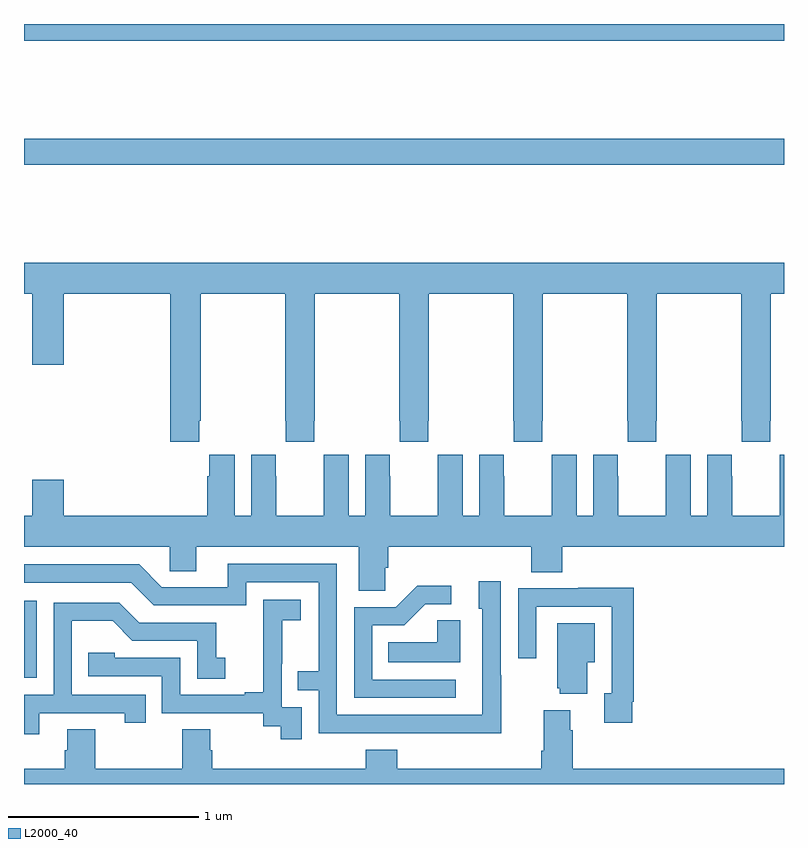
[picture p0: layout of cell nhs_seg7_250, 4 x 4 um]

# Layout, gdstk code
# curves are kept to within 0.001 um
import gdstk
lib = gdstk.Library(unit=1e-6, precision=1e-09)
def R(c, l, rs):  # rectangles x0, y0, x1, y1
    for r in rs: c.add(gdstk.rectangle(r[:2], r[2:], *l))
def P(c, l, *ps):  # polygons
    for p in ps: c.add(gdstk.Polygon(p, *l))
L2000_40 = (2000, 40)

nhs_seg7_250 = lib.new_cell('nhs_seg7_250')
R(nhs_seg7_250, L2000_40, [(129,1034.559,129.066,1034.965), (129,1037.26,133,1037.396), (129,1037.912,133,1038)])
P(nhs_seg7_250, L2000_40, [(129.923,1035.913),(129.93,1035.913),(129.93,1036.58),(130.375,1036.58),(130.375,1035.913),(130.377,1035.913),(130.377,1035.801),(130.527,1035.801),(130.527,1035.913),(130.53,1035.913),(130.53,1036.58),(130.975,1036.58),(130.975,1035.913),(130.977,1035.913),(130.977,1035.801),(131.127,1035.801),(131.127,1035.913),(131.13,1035.913),(131.13,1036.58),(131.575,1036.58),(131.575,1035.913),(131.577,1035.913),(131.577,1035.801),(131.727,1035.801),(131.727,1035.913),(131.73,1035.913),(131.73,1036.58),(132.175,1036.58),(132.175,1035.913),(132.177,1035.913),(132.177,1035.801),(132.327,1035.801),(132.327,1035.913),(132.33,1035.913),(132.33,1036.58),(132.775,1036.58),(132.775,1035.913),(132.777,1035.913),(132.777,1035.801),(132.927,1035.801),(132.927,1035.913),(132.93,1035.913),(132.93,1036.58),(133,1036.58),(133,1036.744),(129,1036.744),(129,1036.58),(129.044,1036.58),(129.044,1036.206),(129.208,1036.206),(129.208,1036.58),(129.77,1036.58),(129.77,1035.801),(129.923,1035.801)],
  [(130.902,1035.139),(130.916,1035.139),(130.916,1035.248),(131.669,1035.248),(131.669,1035.115),(131.834,1035.115),(131.834,1035.248),(133,1035.248),(133,1035.733),(132.978,1035.733),(132.978,1035.62),(132.977,1035.62),(132.977,1035.412),(132.727,1035.412),(132.727,1035.62),(132.726,1035.62),(132.726,1035.733),(132.596,1035.733),(132.596,1035.412),(132.508,1035.412),(132.508,1035.733),(132.378,1035.733),(132.378,1035.62),(132.377,1035.62),(132.377,1035.412),(132.127,1035.412),(132.127,1035.62),(132.126,1035.62),(132.126,1035.733),(131.996,1035.733),(131.996,1035.412),(131.908,1035.412),(131.908,1035.733),(131.778,1035.733),(131.778,1035.62),(131.777,1035.62),(131.777,1035.412),(131.527,1035.412),(131.527,1035.62),(131.526,1035.62),(131.526,1035.733),(131.396,1035.733),(131.396,1035.412),(131.308,1035.412),(131.308,1035.733),(131.178,1035.733),(131.178,1035.62),(131.177,1035.62),(131.177,1035.412),(130.927,1035.412),(130.927,1035.62),(130.926,1035.62),(130.926,1035.733),(130.796,1035.733),(130.796,1035.412),(130.708,1035.412),(130.708,1035.733),(130.578,1035.733),(130.578,1035.62),(130.577,1035.62),(130.577,1035.412),(130.327,1035.412),(130.327,1035.62),(130.326,1035.62),(130.326,1035.733),(130.196,1035.733),(130.196,1035.412),(130.108,1035.412),(130.108,1035.733),(129.974,1035.733),(129.974,1035.62),(129.965,1035.62),(129.965,1035.412),(129.208,1035.412),(129.208,1035.601),(129.044,1035.601),(129.044,1035.412),(129,1035.412),(129,1035.248),(129.768,1035.248),(129.768,1035.121),(129.907,1035.121),(129.907,1035.248),(130.763,1035.248),(130.763,1035.016),(130.902,1035.016)],
  [(131.511,1034.573),(131.508,1034.573),(131.508,1035.067),(131.393,1035.067),(131.393,1034.922),(131.412,1034.922),(131.412,1034.364),(130.647,1034.364),(130.647,1035.159),(130.073,1035.159),(130.073,1035.036),(129.726,1035.036),(129.606,1035.156),(129,1035.156),(129,1035.06),(129.564,1035.06),(129.684,1034.94),(130.17,1034.94),(130.17,1035.063),(130.551,1035.063),(130.551,1034.594),(130.441,1034.594),(130.441,1034.493),(130.551,1034.493),(130.551,1034.268),(131.511,1034.267)],
  [(131.272,1034.55),(130.833,1034.55),(130.833,1034.835),(131.002,1034.835),(131.113,1034.946),(131.248,1034.946),(131.248,1035.044),(131.069,1035.044),(130.956,1034.931),(130.737,1034.931),(130.737,1034.454),(131.272,1034.454)],
  [(132.202,1034.434),(132.209,1034.434),(132.209,1035.032),(131.917,1035.032),(131.917,1035.03),(131.601,1035.03),(131.601,1034.661),(131.697,1034.661),(131.697,1034.934),(132.093,1034.934),(132.093,1034.478),(132.053,1034.478),(132.053,1034.322),(132.202,1034.322)],
  [(130.461,1034.403),(130.356,1034.403),(130.356,1034.632),(130.358,1034.632),(130.358,1034.861),(130.456,1034.861),(130.456,1034.971),(130.258,1034.971),(130.258,1034.765),(130.259,1034.765),(130.259,1034.482),(130.163,1034.482),(130.163,1034.469),(129.822,1034.469),(129.822,1034.664),(129.477,1034.664),(129.477,1034.691),(129.337,1034.691),(129.337,1034.568),(129.726,1034.568),(129.726,1034.373),(130.26,1034.373),(130.26,1034.305),(130.352,1034.305),(130.352,1034.235),(130.461,1034.235)],
  [(129.079,1034.373),(129.53,1034.373),(129.53,1034.322),(129.641,1034.322),(129.641,1034.469),(129.252,1034.469),(129.252,1034.858),(129.466,1034.858),(129.57,1034.754),(129.912,1034.754),(129.912,1034.555),(130.06,1034.555),(130.06,1034.665),(130.011,1034.665),(130.011,1034.85),(129.607,1034.85),(129.502,1034.955),(129.156,1034.955),(129.156,1034.469),(129,1034.469),(129,1034.262),(129.079,1034.262)],
  [(131.296,1034.861),(131.175,1034.861),(131.175,1034.746),(130.918,1034.746),(130.918,1034.642),(131.296,1034.642)],
  [(131.965,1034.642),(132.004,1034.642),(132.004,1034.845),(131.807,1034.845),(131.807,1034.505),(131.819,1034.505),(131.819,1034.474),(131.965,1034.474)],
  [(130.964,1034.179),(130.799,1034.179),(130.799,1034.08),(129.992,1034.08),(129.992,1034.178),(129.979,1034.178),(129.979,1034.288),(129.832,1034.288),(129.832,1034.08),(129.375,1034.08),(129.375,1034.288),(129.227,1034.288),(129.227,1034.178),(129.215,1034.178),(129.215,1034.08),(129,1034.08),(129,1034),(133,1034),(133,1034.08),(131.888,1034.08),(131.888,1034.282),(131.875,1034.282),(131.875,1034.389),(131.735,1034.389),(131.735,1034.176),(131.723,1034.176),(131.723,1034.08),(130.964,1034.08)])

lib.write_gds('nhs_seg7_250.gds')
